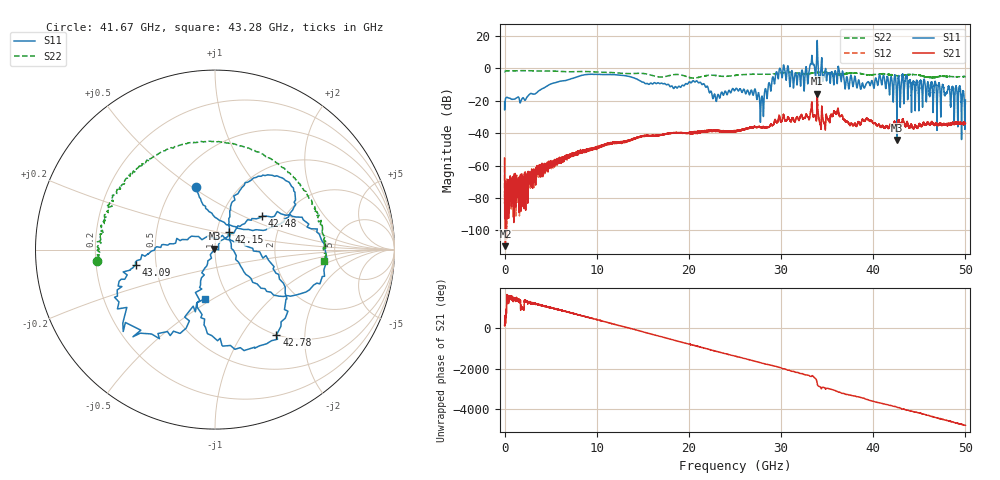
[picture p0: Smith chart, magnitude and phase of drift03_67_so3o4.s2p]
!Created with skrf (http://scikit-rf.org).
# Hz S RI R 50.0
!freq ReS11 ImS11 ReS21 ImS21 ReS12 ImS12 ReS22 ImS22
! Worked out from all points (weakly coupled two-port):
!   10001 points, 300 kHz to 50 GHz, reference 50 ohm
!   highest |S21| = -15.50 dB at 33.92 GHz (marker M1); lowest = -109.8 dB at 90.3 MHz (marker M2)
!   lowest |S11| = -44.2 dB at 42.57 GHz (marker M3), VSWR 1.01, Z = 49.7 + j0.516 ohm
!   |S11| at or under -10 dB: start of sweep to 4.849 GHz; 21.69 GHz to 28.62 GHz (6.93 GHz wide, 27.5 % of centre); 47.54 GHz to end of sweep (the widest 3 of 41)
!   |S22| runs from -5.9 to -1.3 dB; largest |S21 - S12| = 0.017
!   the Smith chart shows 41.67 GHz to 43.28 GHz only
!   S11 on the Smith chart (normalised r, x): 41.67 GHz: 0.65, +0.52; 42.15 GHz: 1.15, +0.23; 42.48 GHz: 1.55, +0.65; 42.78 GHz: 1.00, -1.44; 43.09 GHz: 0.38, -0.08; 43.28 GHz: 0.77, -0.46
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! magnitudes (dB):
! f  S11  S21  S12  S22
! 300 kHz  -20.9  -55.3  -55.8  -2.0
! 90.3 MHz  -18.8  -109.8  -81.2  -1.5
! 340.3 MHz  -18.0  -74.2  -84.7  -1.4
! 8.335 GHz  -4.3  -51.9  -52.0  -1.9
! 16.67 GHz  -8.8  -41.4  -41.5  -5.2
! 21.01 GHz  -8.8  -38.8  -39.2  -5.5
! 22.81 GHz  -16.0  -38.4  -38.5  -4.3
! 25 GHz  -13.4  -38.8  -38.8  -4.3
! 27.92 GHz  -17.1  -36.4  -36.2  -3.5
! 29.69 GHz  -6.4  -32.2  -31.5  -3.1
! 32.32 GHz  -1.5  -30.5  -30.6  -3.3
! 33.34 GHz  8.0  -20.6  -20.9  -2.9
! 33.92 GHz  17.3  -15.5  -15.9  -2.5
! 41.67 GHz  -8.7  -36.7  -36.7  -3.6
! 41.67 GHz  -9.1  -36.7  -36.6  -3.7
! 42.15 GHz  -18.0  -35.3  -35.0  -4.0
! 42.48 GHz  -9.8  -34.8  -34.9  -4.4
! 42.57 GHz  -44.2  -34.7  -34.8  -4.4
! 42.78 GHz  -4.6  -31.8  -32.1  -4.5
! 43.09 GHz  -6.9  -34.3  -34.0  -4.5
! 43.28 GHz  -11.1  -32.6  -32.5  -4.2
! 50 GHz  -19.4  -33.9  -33.8  -4.9
